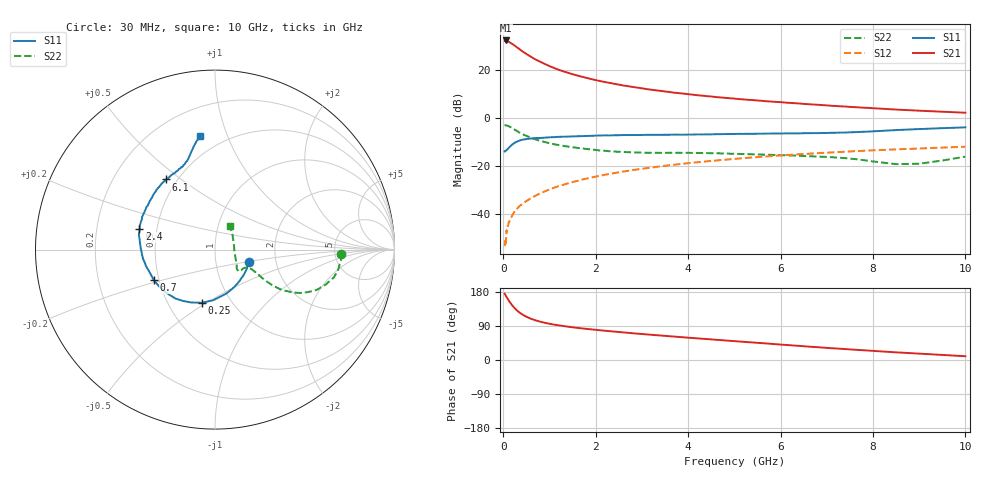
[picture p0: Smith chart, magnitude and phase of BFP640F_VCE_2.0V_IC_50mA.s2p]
! Infineon Technologies  Discrete & RF Semiconductors
! BFP640F
! VCE =  2.0 V,  IC =  50 mA
! Common Emitter S-Parameters:  Apr 2013
# GHz  S  MA  R  50
!  f  S11  S21  S12  S22
! GHz  MAG  ANG  MAG  ANG  MAG  ANG  MAG  ANG
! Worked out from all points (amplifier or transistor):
!   99 points, 30 MHz to 10 GHz, reference 50 ohm
!   highest |S21| = 32.4 dB at 50 MHz (marker M1)
!   |S21| within 3 dB of that: start of sweep to 307 MHz
!   unconditionally stable (mu >= 1): start of sweep to 150.3 MHz; 691.6 MHz to end of sweep
!   at 350 MHz: K = 0.88, MSG = 32.8 dB, |S12| = -36.8 dB
!   at 3.5 GHz: K = 1.17, MAG = 13.0 dB, |S12| = -20.0 dB
!   at 10 GHz: K = 1.11, MAG = 5.1 dB, |S12| = -12.0 dB
!   S11 on the Smith chart (normalised r, x): 30 MHz: 1.45, -0.20; 250 MHz: 0.73, -0.48; 700 MHz: 0.47, -0.19; 2.4 GHz: 0.40, +0.11; 6.1 GHz: 0.43, +0.44; 10 GHz: 0.38, +0.80
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0.03  0.2002 -19.6  40.93 175.1  0.0021 48.6  0.7028 -1.9
0.04  0.1992 -25.2  40.78 173.3  0.0027 63.3  0.7045 -3.5
0.05  0.2061 -30.0  41.69 171.2  0.0022 91.7  0.7041 -4.8
0.07  0.2136 -42.1  41.09 166.6  0.0045 55.5  0.6976 -7.9
0.1  0.2261 -56.1  39.88 160.6  0.0056 64.3  0.685 -11.8
0.14  0.2488 -73.2  38 153.2  0.0072 70.6  0.6549 -16.3
0.2  0.2824 -92.0  35.01 143.3  0.0094 69.3  0.6098 -21.6
0.25  0.3047 -103.9  32.42 136.5  0.0112 67.6  0.569 -24.6
0.35  0.3365 -121.7  27.51 125.5  0.0144 69.0  0.4979 -28.7
0.45  0.3559 -134.0  23.5 117.5  0.0172 67.8  0.4451 -30.7
0.6  0.3729 -146.9  18.99 108.9  0.0212 68.9  0.3861 -31.7
0.7  0.3807 -153.3  16.67 104.7  0.0238 69.6  0.3569 -31.8
0.9  0.3879 -162.6  13.47 98.2  0.0293 69.8  0.3141 -31.2
1.1  0.3983 -169.8  11.12 93.4  0.0349 70.3  0.2831 -30.1
1.7  0.4181 175.9  7.291 83.5  0.0516 69.5  0.2318 -28.1
2.4  0.436 165.0  5.183 75.0  0.0706 66.9  0.1996 -30.5
3.4  0.4445 152.2  3.698 64.7  0.0976 62.2  0.1869 -36.3
5.1  0.4666 134.4  2.482 48.9  0.1423 52.8  0.1778 -42.2
6.1  0.4773 125.0  2.1 39.9  0.1676 46.8  0.1662 -42.0
6.7  0.483 118.5  1.914 34.5  0.1816 43.1  0.1581 -40.2
8.5  0.5594 103.7  1.501 20.2  0.2209 32.3  0.1087 -4.1
10  0.6371 97.4  1.289 9.9  0.2514 24.2  0.156 58.2
